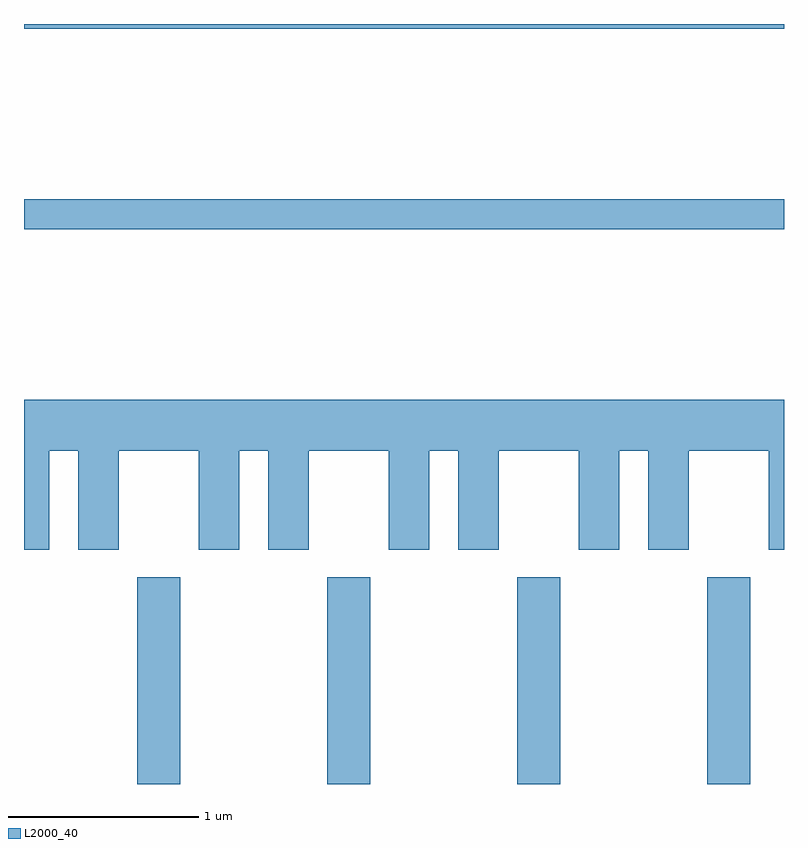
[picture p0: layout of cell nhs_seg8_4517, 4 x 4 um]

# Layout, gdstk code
import gdstk
lib = gdstk.Library(unit=1e-6, precision=1e-09)
def R(c, l, rs):  # rectangles x0, y0, x1, y1
    for r in rs: c.add(gdstk.rectangle(r[:2], r[2:], *l))
def A(c, l, x, y, w, h, nx, ny, dx, dy):  # array of equal rectangles
    R(c, l, [(x+i*dx, y+j*dy, x+i*dx+w, y+j*dy+h) for i in range(nx) for j in range(ny)])
def P(c, l, *ps):  # polygons
    for p in ps: c.add(gdstk.Polygon(p, *l))
L2000_40 = (2000, 40)

nhs_seg8_4517 = lib.new_cell('nhs_seg8_4517')
A(nhs_seg8_4517, L2000_40, 320.206, 1932.342, 0.228, 1.087, 4, 1, 1, 0)
R(nhs_seg8_4517, L2000_40, [(319.611,1935.261,323.611,1935.419), (319.611,1936.316,323.611,1936.342)])
P(nhs_seg8_4517, L2000_40, [(319.744,1934.096),(319.896,1934.096),(319.896,1933.576),(320.109,1933.576),(320.109,1934.096),(320.531,1934.096),(320.531,1933.576),(320.744,1933.576),(320.744,1934.096),(320.896,1934.096),(320.896,1933.576),(321.109,1933.576),(321.109,1934.096),(321.531,1934.096),(321.531,1933.576),(321.744,1933.576),(321.744,1934.096),(321.896,1934.096),(321.896,1933.576),(322.109,1933.576),(322.109,1934.096),(322.531,1934.096),(322.531,1933.576),(322.744,1933.576),(322.744,1934.096),(322.896,1934.096),(322.896,1933.576),(323.109,1933.576),(323.109,1934.096),(323.531,1934.096),(323.531,1933.576),(323.611,1933.576),(323.611,1934.364),(319.611,1934.364),(319.611,1933.576),(319.744,1933.576)])

lib.write_gds('nhs_seg8_4517.gds')
